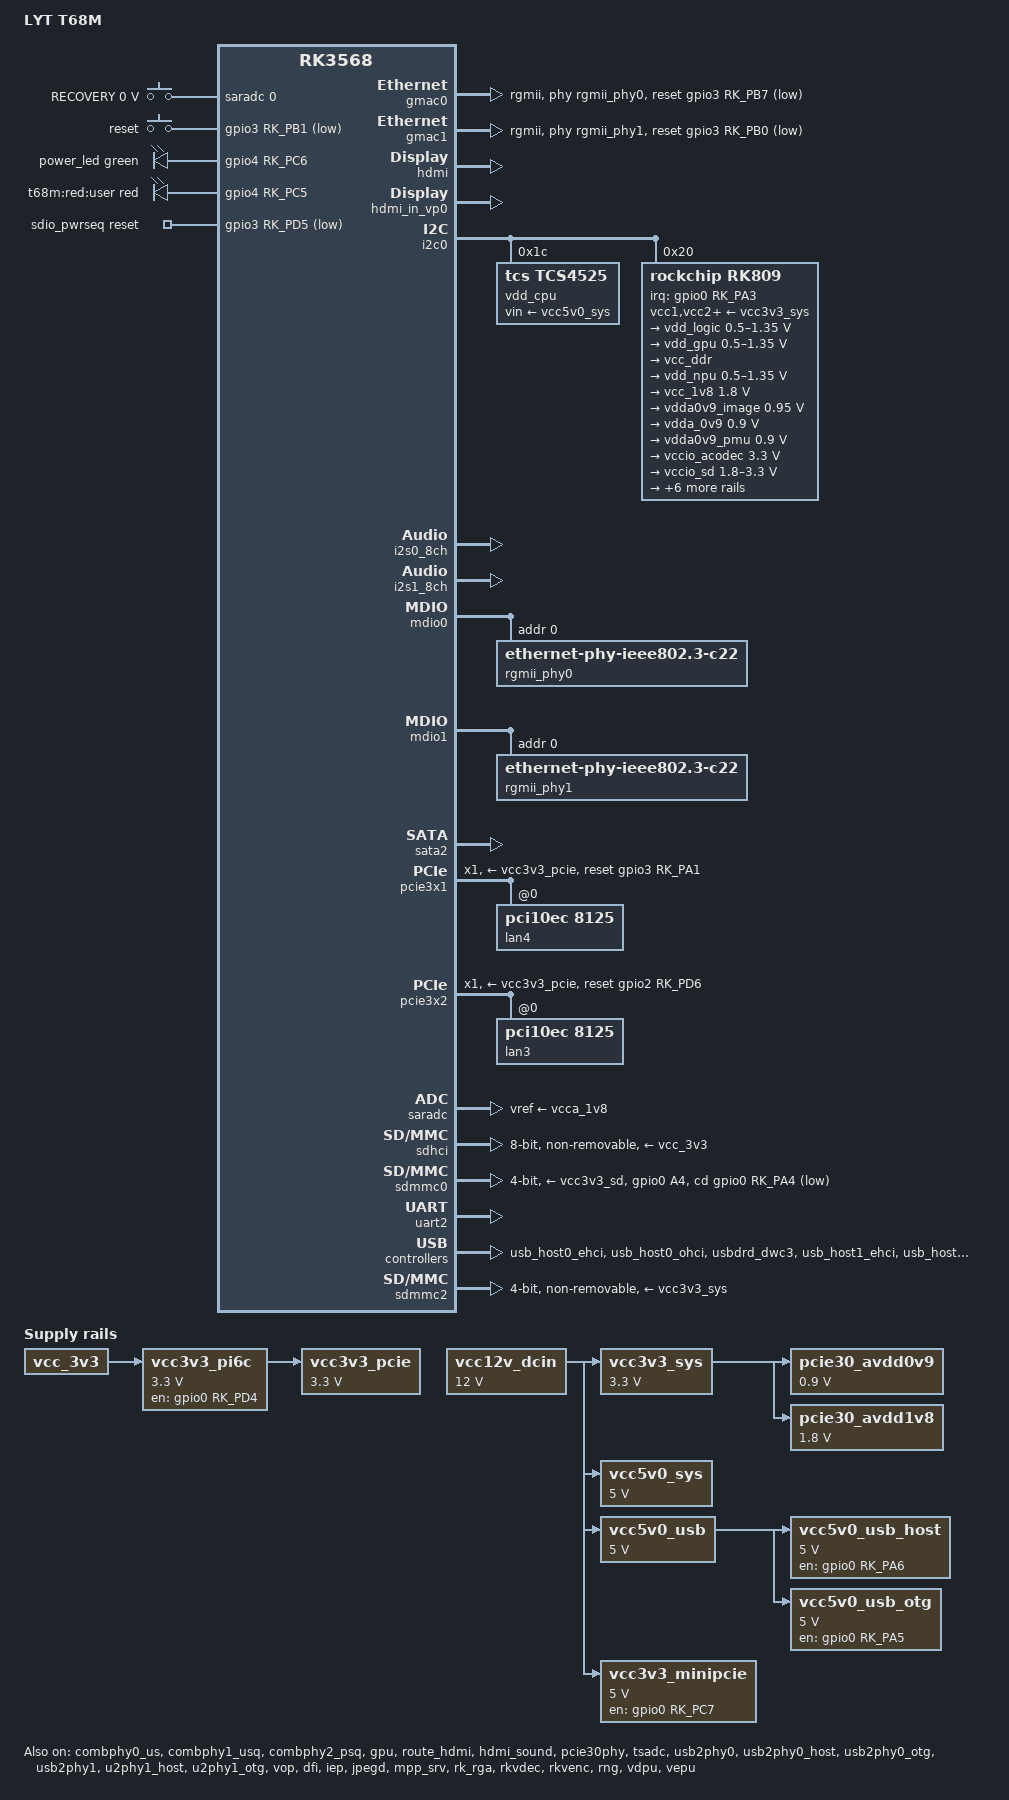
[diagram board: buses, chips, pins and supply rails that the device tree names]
// SPDX-License-Identifier: GPL-2.0-or-later OR MIT
// Source: https://github.com/immortalwrt/immortalwrt/blob/594ab12ff83c9d0a30165a20366d591c4a80e944/target/linux/rockchip/files/arch/arm64/boot/dts/rockchip/rk3568-lyt-t68m.dts

/dts-v1/;
#include <dt-bindings/gpio/gpio.h>
#include <dt-bindings/input/input.h>
#include <dt-bindings/leds/common.h>
#include <dt-bindings/pinctrl/rockchip.h>
#include <dt-bindings/soc/rockchip,vop2.h>
#include "rk3568.dtsi"



/ {
	model = "LYT T68M";
	compatible = "lyt,t68m", "rockchip,rk3568";

	aliases {
		ethernet0 = &gmac0;
		ethernet1 = &gmac1;
		mmc0 = &sdhci;
		mmc1 = &sdmmc0;

		led-boot = &power_led;
		led-failsafe = &power_led;
		led-running = &power_led;
		led-upgrade = &power_led;
	};

	chosen: chosen {
		stdout-path = "serial2:1500000n8";
	};

	/* 按键：板上有两个，谁也别删谁 —— ①复位键走 GPIO（gpio3 RK_PB1 低有效、
	   50ms 去抖、上报 KEY_RESTART），pinctrl 组 reset_button_pin 本文件已有；
	   ②saradc0 上的 RECOVERY 键走 ADC（keyup 1750000mV 阈值）。
	   xck-nas 飞牛金标准件两把键都有；iStoreOS 官方件只保留 adc-keys。
	   2026-10-28 曾按 immortalwrt 594ab12 把 adc-keys 整个换成 gpio-keys，
	   复核权威件后回退成两者并存。 */
	adc-keys {
		compatible = "adc-keys";
		io-channels = <&saradc 0>;
		io-channel-names = "buttons";
		keyup-threshold-microvolt = <1750000>;
		poll-interval = <100>;

		button-recovery {
			label = "RECOVERY";
			linux,code = <KEY_RESTART>;
			press-threshold-microvolt = <0>;
		};
	};

	gpio-keys {
		compatible = "gpio-keys";
		pinctrl-names = "default";
		pinctrl-0 = <&reset_button_pin>;

		button-reset {
			label = "reset";
			gpios = <&gpio3 RK_PB1 GPIO_ACTIVE_LOW>;
			linux,code = <KEY_RESTART>;
			debounce-interval = <50>;
		};
	};

	gpio-leds {
		compatible = "gpio-leds";
		pinctrl-names = "default";
		pinctrl-0 = <&led_power_pin>, <&led_status_pin>;

		power_led: led-power {
			color = <LED_COLOR_ID_GREEN>;
			function = LED_FUNCTION_POWER;
			gpios = <&gpio4 RK_PC6 GPIO_ACTIVE_HIGH>;
			/* 无此属性时 leds-gpio 驱动在探测期会把灯置灭（内核默认 off）。
			   厂商系统靠用户态脚本点亮，我们的系统没有该脚本，故在设备树里定死常亮。 */
			default-state = "on";
		};

		status_led: led-status {
			label = "t68m:red:user";
			color = <LED_COLOR_ID_RED>;
			function = LED_FUNCTION_STATUS;
			gpios = <&gpio4 RK_PC5 GPIO_ACTIVE_HIGH>;
			default-state = "on";
		};
	};

	/* HDMI 连接器：**故意不写**（2026-10 实机定位，勿再加回来）。
	   本内核（6.1 vendor BSP）的 dw-hdmi 自己创建 connector，板级再自造一个
	   `hdmi-connector` 节点 + `&hdmi` 的 port@1 与之共存，会让 drm_bridge_attach
	   返回 -22、整个 HDMI probe 失败（实测 `dwhdmi-rockchip: probe of
	   fe0a0000.hdmi failed with error -22`，/sys/class/drm 下无任何 HDMI 连接器）。
	   xck-nas 飞牛金标准件（6.12/6.18 主线族）里确实有 hdmi-con —— 那是**另一条内核线**
	   的写法，属性不能互抄（详见 README「显示 / LED / 硬件编解码」）。 */

	sdio_pwrseq: sdio-pwrseq {
		compatible = "mmc-pwrseq-simple";
		clocks = <&rk809 1>;
		clock-names = "ext_clock";
		pinctrl-names = "default";
		pinctrl-0 = <&wifi_enable_h>;
		post-power-on-delay-ms = <100>;
		power-off-delay-us = <5000000>;
		reset-gpios = <&gpio3 RK_PD5 GPIO_ACTIVE_LOW>;
	};

	vcc12v_dcin: vcc12v-dcin-regulator {
		compatible = "regulator-fixed";
		regulator-name = "vcc12v_dcin";
		regulator-always-on;
		regulator-boot-on;
		regulator-min-microvolt = <12000000>;
		regulator-max-microvolt = <12000000>;
	};

	vcc3v3_sys: vcc3v3-sys-regulator {
		compatible = "regulator-fixed";
		regulator-name = "vcc3v3_sys";
		regulator-always-on;
		regulator-boot-on;
		regulator-min-microvolt = <3300000>;
		regulator-max-microvolt = <3300000>;
		vin-supply = <&vcc12v_dcin>;
	};

	vcc5v0_sys: vcc5v0-sys-regulator {
		compatible = "regulator-fixed";
		regulator-name = "vcc5v0_sys";
		regulator-always-on;
		regulator-boot-on;
		regulator-min-microvolt = <5000000>;
		regulator-max-microvolt = <5000000>;
		vin-supply = <&vcc12v_dcin>;
	};

	vcc5v0_usb: vcc5v0-usb-regulator {
		compatible = "regulator-fixed";
		regulator-name = "vcc5v0_usb";
		regulator-always-on;
		regulator-boot-on;
		regulator-min-microvolt = <5000000>;
		regulator-max-microvolt = <5000000>;
		vin-supply = <&vcc12v_dcin>;
	};

	vcc5v0_usb_host: vcc5v0-usb-host-regulator {
		compatible = "regulator-fixed";
		enable-active-high;
		gpio = <&gpio0 RK_PA6 GPIO_ACTIVE_HIGH>;
		pinctrl-names = "default";
		pinctrl-0 = <&vcc5v0_usb_host_en>;
		regulator-name = "vcc5v0_usb_host";
		regulator-min-microvolt = <5000000>;
		regulator-max-microvolt = <5000000>;
		vin-supply = <&vcc5v0_usb>;
	};

	vcc5v0_usb_otg: vcc5v0-usb-otg-regulator {
		compatible = "regulator-fixed";
		enable-active-high;
		gpio = <&gpio0 RK_PA5 GPIO_ACTIVE_HIGH>;
		pinctrl-names = "default";
		pinctrl-0 = <&vcc5v0_usb_otg_en>;
		regulator-name = "vcc5v0_usb_otg";
		regulator-min-microvolt = <5000000>;
		regulator-max-microvolt = <5000000>;
		vin-supply = <&vcc5v0_usb>;
	};

	pcie30_avdd0v9: pcie30-avdd0v9-regulator {
		compatible = "regulator-fixed";
		regulator-name = "pcie30_avdd0v9";
		regulator-always-on;
		regulator-boot-on;
		regulator-min-microvolt = <900000>;
		regulator-max-microvolt = <900000>;
		vin-supply = <&vcc3v3_sys>;
	};

	pcie30_avdd1v8: pcie30-avdd1v8-regulator {
		compatible = "regulator-fixed";
		regulator-name = "pcie30_avdd1v8";
		regulator-always-on;
		regulator-boot-on;
		regulator-min-microvolt = <1800000>;
		regulator-max-microvolt = <1800000>;
		vin-supply = <&vcc3v3_sys>;
	};

	/* actually fed by vcc5v0_sys */
	vcc3v3_pi6c: vcc3v3-pi6c-regulator {
		compatible = "regulator-fixed";
		enable-active-high;
		gpios = <&gpio0 RK_PD4 GPIO_ACTIVE_HIGH>;
		pinctrl-names = "default";
		pinctrl-0 = <&pi6c_enable_h>;
		regulator-always-on;
		regulator-boot-on;
		regulator-name = "vcc3v3_pi6c";
		regulator-min-microvolt = <3300000>;
		regulator-max-microvolt = <3300000>;
		vin-supply = <&vcc_3v3>;
	};

	vcc3v3_pcie: vcc3v3-pcie-regulator {
		compatible = "regulator-fixed";
		regulator-name = "vcc3v3_pcie";
		regulator-min-microvolt = <3300000>;
		regulator-max-microvolt = <3300000>;
		/* wait for pi6c stable */
		startup-delay-us = <50000>;
		vin-supply = <&vcc3v3_pi6c>;
	};

	/* actually fed by vcc12v_dcin（官方同注释，vin-supply 按官方指向 vcc3v3_pcie） */
	vcc3v3_minipcie: vcc3v3-minipcie-regulator {
	regulator-always-on;
	regulator-boot-on;
	compatible = "regulator-fixed";
	enable-active-high;
		gpios = <&gpio0 RK_PC7 GPIO_ACTIVE_HIGH>;
		pinctrl-names = "default";
		pinctrl-0 = <&minipcie_enable_h>;
		regulator-name = "vcc3v3_minipcie";
		regulator-min-microvolt = <5000000>;
		regulator-max-microvolt = <5000000>;
		vin-supply = <&vcc12v_dcin>;
	};
};

&combphy0_us {
	status = "okay";
};

&combphy1_usq {
	status = "okay";
};

&combphy2_psq {
	status = "okay";
};

&cpu0 {
	cpu-supply = <&vdd_cpu>;
};

&cpu1 {
	cpu-supply = <&vdd_cpu>;
};

&cpu2 {
	cpu-supply = <&vdd_cpu>;
};

&cpu3 {
	cpu-supply = <&vdd_cpu>;
};

&gmac0 {
	assigned-clocks = <&cru SCLK_GMAC0_RX_TX>, <&cru SCLK_GMAC0>;
	assigned-clock-parents = <&cru SCLK_GMAC0_RGMII_SPEED>;
	assigned-clock-rates = <0>, <125000000>;
	clock_in_out = "output";
	/* 官方（同内核树 easepi-r1 / 本板厂商 6.12 DTB）的写法：phy-mode="rgmii" +
	   tx_delay/rx_delay，RGMII 延迟全部由 MAC 侧产生，PHY 侧 2ns 由驱动关掉。
	   为什么不用 "rgmii-id"：vendor dwmac-rk 的 PHY_INTERFACE_MODE_RGMII_ID 分支是
	   set_to_rgmii(bsp, -1, -1)，DELAY_ENABLE 宏对 -1 取 *_DLY_DISABLE ⇒ 只留 PHY 侧
	   2ns、MAC 侧全关，实测采样点临界（56B 丢 65% / 1400B 丢 90%，接口错误计数为 0）。
	   本板取值取自厂商 T68M 6.12 出厂 DTB（gmii0: 0x3c/0x2f），不是照抄别的板子。 */
	label = "lan1";
	phy-mode = "rgmii";
	tx_delay = <0x3c>;
	rx_delay = <0x2f>;
	pinctrl-names = "default";
	pinctrl-0 = <&gmac0_miim
		     &gmac0_tx_bus2
		     &gmac0_rx_bus2
		     &gmac0_rgmii_clk
		     &gmac0_rgmii_bus>;
	snps,reset-gpio = <&gpio3 RK_PB7 GPIO_ACTIVE_LOW>;
	snps,reset-active-low;
	/* Reset time is 20ms, 100ms for rtl8211f */
	snps,reset-delays-us = <0 20000 100000>;
	phy-handle = <&rgmii_phy0>;
	status = "okay";
};

&gmac1 {
	assigned-clocks = <&cru SCLK_GMAC1_RX_TX>, <&cru SCLK_GMAC1>;
	assigned-clock-parents = <&cru SCLK_GMAC1_RGMII_SPEED>;
	assigned-clock-rates = <0>, <125000000>;
	clock_in_out = "output";
	/* 同 gmac0：官方 rgmii + MAC 侧延迟写法；本板 gmac1 取值取自厂商 6.12 出厂 DTB
	   （0x42/0x28）。两个千兆口同源同修，只改一个 = 另一个继续丢包。 */
	label = "lan2";
	phy-mode = "rgmii";
	tx_delay = <0x42>;
	rx_delay = <0x28>;
	pinctrl-names = "default";
	pinctrl-0 = <&gmac1m1_miim
		     &gmac1m1_tx_bus2
		     &gmac1m1_rx_bus2
		     &gmac1m1_rgmii_clk
		     &gmac1m1_rgmii_bus>;
	snps,reset-gpio = <&gpio3 RK_PB0 GPIO_ACTIVE_LOW>;
	snps,reset-active-low;
	/* Reset time is 20ms, 100ms for rtl8211f */
	snps,reset-delays-us = <0 20000 100000>;
	phy-handle = <&rgmii_phy1>;
	status = "okay";
};

&gpu {
	mali-supply = <&vdd_gpu>;
	status = "okay";
};

&hdmi {
	avdd-0v9-supply = <&vdda0v9_image>;
	avdd-1v8-supply = <&vcca1v8_image>;
	/* HDMI PHY 校准表：照抄同内核树官方 EVB（rk3568-evb.dtsi），不自造。 */
	rockchip,phy-table =
		<92812500  0x8009 0x0000 0x0270>,
		<165000000 0x800b 0x0000 0x026d>,
		<185625000 0x800b 0x0000 0x01ed>,
		<297000000 0x800b 0x0000 0x01ad>,
		<594000000 0x8029 0x0000 0x0088>,
		<000000000 0x0000 0x0000 0x0000>;
	/* BSP 的 rk356x.dtsi 只给了 port@0(hdmi_in_vp0/vp1，进)，**故意不补 port@1**：
	   输出端口由 BSP dw-hdmi 自己创建（与根节点 hdmi-con 成对删除，见文件上方注释）。
	   路由方向由下面 &route_hdmi { connect = <&vp0_out_hdmi>; } 指定。
	   注意：dtc 要求属性必须写在子节点之前，status 不能放在 ports 后面。 */
	status = "okay";
};

&hdmi_in_vp0 {
	status = "okay";
};

&hdmi_in_vp1 {
	status = "disabled";
};

/* HDMI 路由：BSP 的 display-subsystem 里 route-hdmi 默认是
   「disabled + connect = <&vp1_out_hdmi>」。不覆盖它，显示子系统就找不到
   可用的 HDMI 路由（实测 dmesg: drm_bridge_attach -22、hdmi probe 失败、
   /sys/class/drm 下没有任何 HDMI 连接器）。官方 EVB 的写法就是下面这两行。 */
&route_hdmi {
	status = "okay";
	connect = <&vp0_out_hdmi>;
};

&hdmi_sound {
	status = "okay";
};

&i2c0 {
	status = "okay";

	vdd_cpu: regulator@1c {
		compatible = "tcs,tcs4525";
		reg = <0x1c>;
		fcs,suspend-voltage-selector = <1>;
		regulator-name = "vdd_cpu";
		regulator-always-on;
		regulator-boot-on;
		regulator-min-microvolt = <800000>;
		regulator-max-microvolt = <1150000>;
		regulator-ramp-delay = <2300>;
		vin-supply = <&vcc5v0_sys>;

		regulator-state-mem {
			regulator-off-in-suspend;
		};
	};

	rk809: pmic@20 {
		compatible = "rockchip,rk809";
		reg = <0x20>;
		interrupt-parent = <&gpio0>;
		interrupts = <RK_PA3 IRQ_TYPE_LEVEL_LOW>;
		assigned-clocks = <&cru I2S1_MCLKOUT_TX>;
		assigned-clock-parents = <&cru CLK_I2S1_8CH_TX>;
		#clock-cells = <1>;
		clock-names = "mclk";
		clocks = <&cru I2S1_MCLKOUT_TX>;
		pinctrl-names = "default";
		pinctrl-0 = <&pmic_int>, <&i2s1m0_mclk>;
		rockchip,system-power-controller;
		#sound-dai-cells = <0>;
		wakeup-source;

		vcc1-supply = <&vcc3v3_sys>;
		vcc2-supply = <&vcc3v3_sys>;
		vcc3-supply = <&vcc3v3_sys>;
		vcc4-supply = <&vcc3v3_sys>;
		vcc5-supply = <&vcc3v3_sys>;
		vcc6-supply = <&vcc3v3_sys>;
		vcc7-supply = <&vcc3v3_sys>;
		vcc8-supply = <&vcc3v3_sys>;
		vcc9-supply = <&vcc3v3_sys>;

		regulators {
			vdd_logic: DCDC_REG1 {
				regulator-name = "vdd_logic";
				regulator-always-on;
				regulator-boot-on;
				regulator-initial-mode = <0x2>;
				regulator-min-microvolt = <500000>;
				regulator-max-microvolt = <1350000>;
				regulator-ramp-delay = <6001>;

				regulator-state-mem {
					regulator-off-in-suspend;
				};
			};

			vdd_gpu: DCDC_REG2 {
				regulator-name = "vdd_gpu";
				regulator-always-on;
				regulator-initial-mode = <0x2>;
				regulator-min-microvolt = <500000>;
				regulator-max-microvolt = <1350000>;
				regulator-ramp-delay = <6001>;

				regulator-state-mem {
					regulator-off-in-suspend;
				};
			};

			vcc_ddr: DCDC_REG3 {
				regulator-name = "vcc_ddr";
				regulator-always-on;
				regulator-boot-on;
				regulator-initial-mode = <0x2>;

				regulator-state-mem {
					regulator-on-in-suspend;
				};
			};

			vdd_npu: DCDC_REG4 {
				regulator-name = "vdd_npu";
				regulator-initial-mode = <0x2>;
				regulator-min-microvolt = <500000>;
				regulator-max-microvolt = <1350000>;
				regulator-ramp-delay = <6001>;

				regulator-state-mem {
					regulator-off-in-suspend;
				};
			};

			vcc_1v8: DCDC_REG5 {
				regulator-name = "vcc_1v8";
				regulator-always-on;
				regulator-boot-on;
				regulator-min-microvolt = <1800000>;
				regulator-max-microvolt = <1800000>;

				regulator-state-mem {
					regulator-off-in-suspend;
				};
			};

			vdda0v9_image: LDO_REG1 {
				regulator-name = "vdda0v9_image";
				regulator-min-microvolt = <950000>;
				regulator-max-microvolt = <950000>;

				regulator-state-mem {
					regulator-off-in-suspend;
				};
			};

			vdda_0v9: LDO_REG2 {
				regulator-name = "vdda_0v9";
				regulator-always-on;
				regulator-boot-on;
				regulator-min-microvolt = <900000>;
				regulator-max-microvolt = <900000>;

				regulator-state-mem {
					regulator-off-in-suspend;
				};
			};

			vdda0v9_pmu: LDO_REG3 {
				regulator-name = "vdda0v9_pmu";
				regulator-always-on;
				regulator-boot-on;
				regulator-min-microvolt = <900000>;
				regulator-max-microvolt = <900000>;

				regulator-state-mem {
					regulator-on-in-suspend;
					regulator-suspend-microvolt = <900000>;
				};
			};

			vccio_acodec: LDO_REG4 {
				regulator-name = "vccio_acodec";
				regulator-always-on;
				regulator-min-microvolt = <3300000>;
				regulator-max-microvolt = <3300000>;

				regulator-state-mem {
					regulator-off-in-suspend;
				};
			};

			vccio_sd: LDO_REG5 {
				regulator-name = "vccio_sd";
				regulator-min-microvolt = <1800000>;
				regulator-max-microvolt = <3300000>;

				regulator-state-mem {
					regulator-off-in-suspend;
				};
			};

			vcc3v3_pmu: LDO_REG6 {
				regulator-name = "vcc3v3_pmu";
				regulator-always-on;
				regulator-boot-on;
				regulator-min-microvolt = <3300000>;
				regulator-max-microvolt = <3300000>;

				regulator-state-mem {
					regulator-on-in-suspend;
					regulator-suspend-microvolt = <3300000>;
				};
			};

			vcca_1v8: LDO_REG7 {
				regulator-name = "vcca_1v8";
				regulator-always-on;
				regulator-boot-on;
				regulator-min-microvolt = <1800000>;
				regulator-max-microvolt = <1800000>;

				regulator-state-mem {
					regulator-off-in-suspend;
				};
			};

			vcca1v8_pmu: LDO_REG8 {
				regulator-name = "vcca1v8_pmu";
				regulator-always-on;
				regulator-boot-on;
				regulator-min-microvolt = <1800000>;
				regulator-max-microvolt = <1800000>;

				regulator-state-mem {
					regulator-on-in-suspend;
					regulator-suspend-microvolt = <1800000>;
				};
			};

			vcca1v8_image: LDO_REG9 {
				regulator-name = "vcca1v8_image";
				regulator-min-microvolt = <1800000>;
				regulator-max-microvolt = <1800000>;

				regulator-state-mem {
					regulator-off-in-suspend;
				};
			};

			vcc_3v3: SWITCH_REG1 {
				regulator-name = "vcc_3v3";
				regulator-always-on;
				regulator-boot-on;

				regulator-state-mem {
					regulator-off-in-suspend;
				};
			};

			vcc3v3_sd: SWITCH_REG2 {
				regulator-name = "vcc3v3_sd";

				regulator-state-mem {
					regulator-off-in-suspend;
				};
			};
		};
	};
};

&i2s0_8ch {
	status = "okay";
};

&i2s1_8ch {
	rockchip,trcm-sync-tx-only;
	status = "okay";
};

&mdio0 {
	/* EEE（IEEE 802.3az / LPI）：**只关 1000BASE-T**，用内核官方机制 eee-broken-1000t。
	   依据（2026-10-28 实机定案）：
	   · 本口 PHY = RTL8211F，链路上 EEE 处于 active，LPI 进出已 1568/1570 次，
	     `phy_eee_wakeup_error_n=1`（即 MDIO_PCS_EEE_WK_ERR 记录到一次唤醒序列失败）；
	   · 故障现象：carrier 仍在、协商速率仍是 1000M，但该口收不到包，下级设备 DHCP 拿不到
	     地址 → 30 s 后自分配 169.254；拔插网线（强制重新协商）即恢复；
	   · 机制：stmmac_main.c:1090 `phy_init_eee(phy, !rx_clk_runs_in_lpi)`，而该内核里
	     `rx_clk_runs_in_lpi` 无任何赋值入口 ⇒ 恒为 0 ⇒ phy.c:1355-1358 给 PHY 打开
	     `MDIO_PCS_CTRL1_CLKSTOP_EN`（LPI 期间停 xMII RX 时钟）⇒ 来包要先唤醒时钟，唤醒
	     竞争失败即丢帧。官方 R1 走的是同一条代码路径，它没犯只是因为对端/走线没触发。
	   · 处置：phy-core.c:385 读本属性 → eee_broken_modes |= MDIO_EEE_1000T →
	     phy.c:1454 在写 MDIO_AN_EEE_ADV 时把 1000T 从通告里剔掉并重新协商 ⇒ 1G 的 EEE
	     不再协商，100M 与两个 2.5G 口（RTL8125，另一套驱动）完全不受影响。
	     同一棵内核树里有 18 个厂商 DTS 用同一写法（imx8mp-evk、fsl-ls1028a-kontron、
	     meson-g12a-x96-max、am335x-baltos 等），属标准做法。 */
	rgmii_phy0: ethernet-phy@0 {
		compatible = "ethernet-phy-ieee802.3-c22";
		reg = <0>;
		realtek,led-data = <0x6151>;
		eee-broken-1000t;
	};
};

&mdio1 {
	/* eth1(GMAC1) 同为 RTL8211F：与 eth0 同源同修，只关 1000BASE-T 的 EEE。
	   两个千兆口必须一起改 —— 只改一个，另一个仍会进 LPI、仍会偶发丢包。 */
	rgmii_phy1: ethernet-phy@0 {
		compatible = "ethernet-phy-ieee802.3-c22";
		reg = <0>;
		realtek,led-data = <0x6151>;
		eee-broken-1000t;
	};
};

&pcie2x1 {
	reset-gpios = <&gpio3 RK_PC1 GPIO_ACTIVE_HIGH>;
	vpcie3v3-supply = <&vcc3v3_minipcie>;
	status = "disabled";
};

&sata2 {
	status = "okay";
};

&pcie30phy {
	data-lanes = <1 2>;
	status = "okay";
};

&pcie3x1 {
	num-lanes = <1>;
	/* 1+1（两路独立 x1）：BSP 的 rk3568.dtsi 在本节点就注释着这条属性要求
	   'rockchip,bifurcation; laneN when using 1+1'。不开分叉时 PCIe3 PHY 停在
	   聚合模式，只有一路 x1 能训练成功——实测另一路 dmesg 停在
	   'PCIe Linking... LTSSM is 0x1' 且 lspci 里少一个 RTL8125。
	   同内核树的其他 rk3568 NAS 板（hinlink-h6xk / radxa-e25 / easepi-a2）同样开启。 */
	rockchip,bifurcation;
	reset-gpios = <&gpio3 RK_PA1 GPIO_ACTIVE_HIGH>;
	vpcie3v3-supply = <&vcc3v3_pcie>;
	status = "okay";

	pcie@0,0 {
		reg = <0x00100000 0 0 0 0>;
		#address-cells = <3>;
		#size-cells = <2>;

		rtl8125_1: pcie-eth@10,0 {
			compatible = "pci10ec,8125";
			reg = <0x000000 0 0 0 0>;
			label = "lan4";
		};
	};
};

&pcie3x2 {
	num-lanes = <1>;
	/* 1+1（两路独立 x1）：BSP 的 rk3568.dtsi 在本节点就注释着这条属性要求
	   'rockchip,bifurcation; laneN when using 1+1'。不开分叉时 PCIe3 PHY 停在
	   聚合模式，只有一路 x1 能训练成功——实测另一路 dmesg 停在
	   'PCIe Linking... LTSSM is 0x1' 且 lspci 里少一个 RTL8125。
	   同内核树的其他 rk3568 NAS 板（hinlink-h6xk / radxa-e25 / easepi-a2）同样开启。 */
	rockchip,bifurcation;
	reset-gpios = <&gpio2 RK_PD6 GPIO_ACTIVE_HIGH>;
	vpcie3v3-supply = <&vcc3v3_pcie>;
	status = "okay";

	pcie@0,0 {
		reg = <0x00200000 0 0 0 0>;
		#address-cells = <3>;
		#size-cells = <2>;

		rtl8125_2: pcie-eth@20,0 {
				compatible = "pci10ec,8125";
				reg = <0x000000 0 0 0 0>;
				label = "lan3";
			};
	};
};

&pinctrl {
	/* 卡的检测脚必须**只由 GPIO 这一份 pinctrl 占着**：
	   基线里 `sdmmc0_det` 是 `<0 RK_PA4 1 ...>`（mux 1），而本节点又用
	   `cd-gpios = <&gpio0 RK_PA4 ...>` 把同一根脚申请成 GPIO ⇒ 内核每次开机都打
	   `pin 4 already requested by fe2b0000.mmc; switch mux 1 to GPIO` + WARNING 栈
	   （pinctrl-rockchip.c rockchip_pmx_gpio_set_direction）。
	   改为用下面这个 RK_FUNC_GPIO 组替代 `&sdmmc0_det`：pull-up 保留、mux 只有 GPIO 一个owner。
	   注：组必须**直接挂在 /pinctrl 下**（不要再套一层容器），CI 断言的就是 /pinctrl/sdmmc0-cd-gpio。 */
	sdmmc0_cd_gpio: sdmmc0-cd-gpio {
		rockchip,pins = <0 RK_PA4 RK_FUNC_GPIO &pcfg_pull_up>;
	};

	leds {
		led_power_pin: led-power-pin {
			rockchip,pins = <4 RK_PC6 RK_FUNC_GPIO &pcfg_pull_none>;
		};

		led_status_pin: led-status-pin {
			rockchip,pins = <4 RK_PC5 RK_FUNC_GPIO &pcfg_pull_none>;
		};
	};

	pcie {
		minipcie_enable_h: minipcie-enable-h {
			rockchip,pins = <0 RK_PC7 RK_FUNC_GPIO &pcfg_pull_none>;
		};

		pi6c_enable_h: pi6c-enable-h {
			rockchip,pins = <0 RK_PD4 RK_FUNC_GPIO &pcfg_pull_none>;
		};
	};

	sdio-pwrseq {
		wifi_enable_h: wifi-enable-h {
			rockchip,pins = <3 RK_PD5 RK_FUNC_GPIO &pcfg_pull_up>;
		};
	};

	pmic {
		pmic_int: pmic_int {
			rockchip,pins = <0 RK_PA3 RK_FUNC_GPIO &pcfg_pull_up>;
		};
	};

	rockchip-key {
		reset_button_pin: reset-button-pin {
			rockchip,pins = <3 RK_PB1 RK_FUNC_GPIO &pcfg_pull_up>;
		};
	};

	usb {
		vcc5v0_usb_host_en: vcc5v0_usb_host_en {
			rockchip,pins = <0 RK_PA6 RK_FUNC_GPIO &pcfg_pull_none>;
		};

		vcc5v0_usb_otg_en: vcc5v0_usb_otg_en {
			rockchip,pins = <0 RK_PA5 RK_FUNC_GPIO &pcfg_pull_none>;
		};
	};
};

&pmu_io_domains {
	pmuio1-supply = <&vcc3v3_pmu>;
	pmuio2-supply = <&vcc3v3_pmu>;
	vccio1-supply = <&vccio_acodec>;
	vccio2-supply = <&vcc_1v8>;
	vccio3-supply = <&vccio_sd>;
	vccio4-supply = <&vcc_1v8>;
	vccio5-supply = <&vcc_3v3>;
	vccio6-supply = <&vcc_1v8>;
	vccio7-supply = <&vcc_3v3>;
	status = "okay";
};

&saradc {
	vref-supply = <&vcca_1v8>;
	status = "okay";
};

&sdhci {
	bus-width = <8>;
	max-frequency = <200000000>;
	non-removable;
	pinctrl-names = "default";
	pinctrl-0 = <&emmc_bus8 &emmc_clk &emmc_cmd &emmc_datastrobe>;
	vmmc-supply = <&vcc_3v3>;
	vqmmc-supply = <&vcc_1v8>;
	status = "okay";
};

&sdmmc0 {
	bus-width = <4>;
	cap-sd-highspeed;
	cd-gpios = <&gpio0 RK_PA4 GPIO_ACTIVE_LOW>;
	disable-wp;
	pinctrl-names = "default";
	pinctrl-0 = <&sdmmc0_bus4 &sdmmc0_clk &sdmmc0_cmd &sdmmc0_cd_gpio>;
	sd-uhs-sdr50;
	vmmc-supply = <&vcc3v3_sd>;
	vqmmc-supply = <&vccio_sd>;
	status = "okay";
};

&tsadc {
	rockchip,hw-tshut-mode = <1>;
	rockchip,hw-tshut-polarity = <0>;
	status = "okay";
};

&uart2 {
	status = "okay";
};

&usb_host0_ehci {
	status = "okay";
};

&usb_host0_ohci {
	status = "okay";
};

&usbdrd_dwc3 {
	extcon = <&usb2phy0>;
	status = "okay";
};

&usb_host1_ehci {
	status = "okay";
};

&usb_host1_ohci {
	status = "okay";
};

&usbhost_dwc3 {
	status = "okay";
};

&usb2phy0 {
	status = "okay";
};

&usb2phy0_host {
	phy-supply = <&vcc5v0_usb_host>;
	status = "okay";
};

&usb2phy0_otg {
	phy-supply = <&vcc5v0_usb_otg>;
	status = "okay";
};

&usb2phy1 {
	status = "okay";
};

&u2phy1_host {
	phy-supply = <&vcc5v0_usb_host>;
	status = "okay";
};

&u2phy1_otg {
	phy-supply = <&vcc5v0_usb_host>;
	status = "okay";
};

&vop {
	assigned-clocks = <&cru DCLK_VOP0>, <&cru DCLK_VOP1>;
	assigned-clock-parents = <&pmucru PLL_HPLL>, <&cru PLL_VPLL>;
	status = "okay";
};

&vop_mmu {
	status = "okay";
};

/* vp0_out_hdmi 已由 BSP rk356x.dtsi 定义，此处不再重复 */

&sdmmc2 {
	bus-width = <4>;
	cap-sd-highspeed;
	cap-sdio-irq;
	disable-wp;
	keep-power-in-suspend;
	mmc-pwrseq = <&sdio_pwrseq>;
	non-removable;
	pinctrl-names = "default";
	pinctrl-0 = <&sdmmc2m0_bus4 &sdmmc2m0_clk &sdmmc2m0_cmd>;
	sd-uhs-sdr104;
	supports-sdio;
	vmmc-supply = <&vcc3v3_sys>;
	vqmmc-supply = <&vcc_1v8>;
	status = "okay";
};

/* ══════════════════════════════════════════════════════════════════
 * 补齐 SoC IP 块使能（原文件缺失，导致半块 SoC 能力被关掉）
 *
 * 背景：本文件源自 immortalwrt 的板级 DTS，只 #include 了 rk3568.dtsi；
 * 而 armbian 官方板级（如 EasePi R1）的做法是继承完整基线
 * rk3568-roc-k40pro.dtsi —— 那些 IP 块是在基线里逐个开启的。
 * 缺失后果：视频硬编解码（jellyfin-ffmpeg/rkmpp）不可用、RGA/IEP/JPEG
 * 图像加速不可用、硬件随机数不可用、DDR 调频监控(dfi)不可用。
 *
 * 以下各块**照抄官方基线 rk3568-roc-k40pro.dtsi 的原文**（同一内核树，
 * 标签必然存在）。刻意保持一致的两项：
 *   - dmc：官方基线里就是 disabled（不开 DDR 调频），此处不动
 *   - npu：厂商出厂 T68M 设备树里亦为 disabled，此处同样保持关闭
 * ══════════════════════════════════════════════════════════════════ */
&dfi {
	status = "okay";
};

&iep {
	status = "okay";
};

&iep_mmu {
	status = "okay";
};

&jpegd {
	status = "okay";
};

&jpegd_mmu {
	status = "okay";
};

/* 硬件编解码服务节点：官方 EVB 显式开启。缺它则 /dev/mpp_service 不存在，
   rkmpp（jellyfin/ffmpeg 硬转码等）报 "open vcodec_service failed"。 */
&mpp_srv {
	status = "okay";
};

&rk_rga {
	status = "okay";
};

&rkvdec {
	status = "okay";
};

&rkvdec_mmu {
	status = "okay";
};

&rkvenc {
	venc-supply = <&vdd_logic>;
	status = "okay";
};

&rkvenc_mmu {
	status = "okay";
};

&rng {
	status = "okay";
};

&vdpu {
	status = "okay";
};

&vdpu_mmu {
	status = "okay";
};

&vepu {
	status = "okay";
};

&vepu_mmu {
	status = "okay";
};

/* ══════════════════════════════════════════════════════════════════
 * USB3 / DWC3 的两个 glue 父节点必须显式使能（2026-10 实机定位）
 *
 * 陷阱：&usbdrd_dwc3 / &usbhost_dwc3 只使能了**子节点**；父节点
 * usbdrd30/usbhost30 在内核 dtsi 里默认 disabled，父节点关着时整棵子树
 * 都不会实例化 —— 表现是 /sys/bus/platform/devices 里根本没有
 * fd000000.usb / fcc00000.usb，两个 DWC3（xHCI）控制器完全不存在，
 * 于是走该 USB 通道的 4G 模块永远枚举不到（ModemManager 报
 * No modems were found），而 lyw/iStoreOS 那套同板固件能认到同一模块。
 * 官方 Easepi-r1（同一颗 6.1.115-vendor-rk35xx 内核）的 usbdrd30/usbhost30
 * 都是 okay，此处照办。
 * ══════════════════════════════════════════════════════════════════ */
&usbdrd30 {
	status = "okay";
};

&usbhost30 {
	status = "okay";
};
